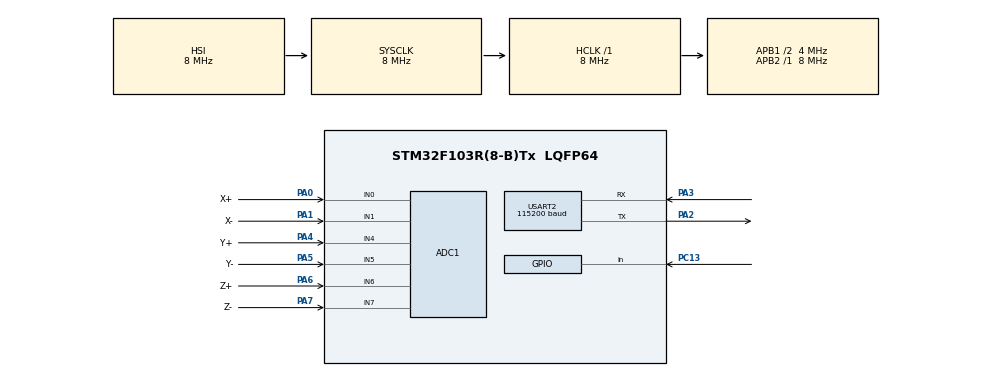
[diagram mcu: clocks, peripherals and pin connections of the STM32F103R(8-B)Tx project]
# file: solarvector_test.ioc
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ADC1.Channel-28\#ChannelRegularConversion=ADC_CHANNEL_0
ADC1.Channel-29\#ChannelRegularConversion=ADC_CHANNEL_1
ADC1.Channel-30\#ChannelRegularConversion=ADC_CHANNEL_4
ADC1.Channel-31\#ChannelRegularConversion=ADC_CHANNEL_5
ADC1.Channel-32\#ChannelRegularConversion=ADC_CHANNEL_6
ADC1.Channel-33\#ChannelRegularConversion=ADC_CHANNEL_7
ADC1.ContinuousConvMode=ENABLE
ADC1.DiscontinuousConvMode=DISABLE
ADC1.EnableRegularConversion=ENABLE
ADC1.InjNumberOfConversion=0
ADC1.NbrOfConversion=6
ADC1.NbrOfConversionFlag=1
ADC1.Rank-28\#ChannelRegularConversion=1
ADC1.Rank-29\#ChannelRegularConversion=2
ADC1.Rank-30\#ChannelRegularConversion=3
ADC1.Rank-31\#ChannelRegularConversion=4
ADC1.Rank-32\#ChannelRegularConversion=5
ADC1.Rank-33\#ChannelRegularConversion=6
ADC1.SamplingTime-28\#ChannelRegularConversion=ADC_SAMPLETIME_55CYCLES_5
ADC1.SamplingTime-29\#ChannelRegularConversion=ADC_SAMPLETIME_55CYCLES_5
ADC1.SamplingTime-30\#ChannelRegularConversion=ADC_SAMPLETIME_55CYCLES_5
ADC1.SamplingTime-31\#ChannelRegularConversion=ADC_SAMPLETIME_55CYCLES_5
ADC1.SamplingTime-32\#ChannelRegularConversion=ADC_SAMPLETIME_55CYCLES_5
ADC1.SamplingTime-33\#ChannelRegularConversion=ADC_SAMPLETIME_55CYCLES_5
ADC1.master=1
Dma.ADC1.0.Direction=DMA_PERIPH_TO_MEMORY
Dma.ADC1.0.Instance=DMA1_Channel1
Dma.ADC1.0.MemDataAlignment=DMA_MDATAALIGN_WORD
Dma.ADC1.0.MemInc=DMA_MINC_ENABLE
Dma.ADC1.0.Mode=DMA_CIRCULAR
Dma.ADC1.0.PeriphDataAlignment=DMA_PDATAALIGN_WORD
Dma.ADC1.0.PeriphInc=DMA_PINC_DISABLE
Dma.ADC1.0.Priority=DMA_PRIORITY_LOW
Dma.Request0=ADC1
Mcu.Family=STM32F1
Mcu.Name=STM32F103R(8-B)Tx
Mcu.Package=LQFP64
NVIC.ADC1_2_IRQn=true\:0\:0\:false\:false\:true\:true
NVIC.DMA1_Channel1_IRQn=true\:0\:0\:false\:false\:true\:false
NVIC.PriorityGroup=NVIC_PRIORITYGROUP_4
PA0-WKUP.GPIO_Label=X+
PA0-WKUP.Signal=ADCx_IN0
PA1.GPIO_Label=X-
PA1.Signal=ADCx_IN1
PA2.Mode=Asynchronous
PA2.Signal=USART2_TX
PA3.Mode=Asynchronous
PA3.Signal=USART2_RX
PA4.GPIO_Label=Y+
PA4.Signal=ADCx_IN4
PA5.GPIO_Label=Y-
PA5.Signal=ADCx_IN5
PA6.GPIO_Label=Z+
PA6.Signal=ADCx_IN6
PA7.GPIO_Label=Z-
PA7.Signal=ADCx_IN7
PC13-TAMPER-RTC.Signal=GPIO_Input
ProjectManager.HeapSize=0x400
ProjectManager.StackSize=0x400
ProjectManager.TargetToolchain=MDK-ARM V5
RCC.ADCPresc=RCC_ADCPCLK2_DIV8
RCC.AHBFreq_Value=8000000
RCC.APB1CLKDivider=RCC_HCLK_DIV2
RCC.APB1Freq_Value=4000000
RCC.APB1TimFreq_Value=8000000
RCC.APB2Freq_Value=8000000
RCC.APB2TimFreq_Value=8000000
RCC.HCLKFreq_Value=8000000
RCC.PLLMUL=RCC_PLL_MUL7
RCC.RTCClockSelection=RCC_RTCCLKSOURCE_LSE
RCC.SYSCLKFreq_VALUE=8000000
RCC.USBFreq_Value=28000000
SH.ADCx_IN0.0=ADC1_IN0,IN0
SH.ADCx_IN1.0=ADC1_IN1,IN1
SH.ADCx_IN4.0=ADC1_IN4,IN4
SH.ADCx_IN5.0=ADC1_IN5,IN5
SH.ADCx_IN6.0=ADC1_IN6,IN6
SH.ADCx_IN7.0=ADC1_IN7,IN7
USART2.BaudRate=115200
USART2.Mode=MODE_TX_RX
USART2.VirtualMode=VM_ASYNC
VP_SYS_VS_ND.Mode=No_Debug
board=NUCLEO-F103RB

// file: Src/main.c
/* USER CODE BEGIN Header */
/**
  ******************************************************************************
  * @file           : main.c
  * @brief          : Main program body
  ******************************************************************************
  ** This program finds solar vectors and prints information over serial based
	* on which #defines are uncommented below.
	*
	* See the Solar Vector Test SOP.
  ******************************************************************************
  */
/* USER CODE END Header */

#include "main.h"

/* USER CODE BEGIN Includes */
#include <math.h>
#include <stdio.h>
#include <string.h>
#include <SolarVectors.h>
#include <DigitalFilters.h>

/* USER CODE END Includes */

/* USER CODE BEGIN PM */
// #define YAWPITCH_TEST // Uncomment to unit test yaw and pitch function
#define PRINT_RAW_VALS
// #define PRINT_SOLAR_VECTOR
#define PRINT_YAWPITCH

#define ADC_CHANNEL_XP 0
#define ADC_CHANNEL_XN 1
#define ADC_CHANNEL_YP 2
#define ADC_CHANNEL_YN 3
#define ADC_CHANNEL_ZP 4
#define ADC_CHANNEL_ZN 5
#define NUM_ADC_CHANNELS 6
#define MOVING_AVG_LENGTH 20

/* USER CODE END PM */

ADC_HandleTypeDef hadc1;
DMA_HandleTypeDef hdma_adc1;

UART_HandleTypeDef huart2;

/* USER CODE BEGIN PV */

ADC_ChannelConfTypeDef sConfig = {0};
uint32_t adc_data[NUM_ADC_CHANNELS];
float sv_raw[NUM_ADC_CHANNELS];

/* USER CODE END PV */

void SystemClock_Config(void);
static void MX_GPIO_Init(void);
static void MX_DMA_Init(void);
static void MX_USART2_UART_Init(void);
static void MX_ADC1_Init(void);

int main(void)
{

  /* MCU Configuration--------------------------------------------------------*/

  /* Reset of all peripherals, Initializes the Flash interface and the Systick. */
  HAL_Init();

  /* Configure the system clock */
  SystemClock_Config();

  /* Initialize all configured peripherals */
  MX_GPIO_Init();
  MX_DMA_Init();
  MX_USART2_UART_Init();
  MX_ADC1_Init();
  /* USER CODE BEGIN 2 */

	char transmit[200];

	#ifdef YAWPITCH_TEST // Unit testing
	int num_tests = 7;
	double x_components[] = {1,		0.7071,	 -0.7071,   0.7071,  -0.7071,  0.7071,        0};
	double y_components[] = {0, 	0.7071,		0.7071,  -0.7071,  -0.7071,       0,  -0.7071};
	double z_components[] = {0, 			 0, 			 0, 			 0, 			 0,  0.7071,  -0.7071};

	double desired_yaw[] =  {0, 			45, 		 135,			 -45,			-135,				0,			-90};
	double desired_pitch[] = {0,			 0,				 0,				 0,				 0, 		 45,			-45};

	for(int i = 0;i < num_tests;i++) {
		Matrix v = make3x1Vector(x_components[i], y_components[i], z_components[i]);
		matrixScale(v, 1.0/vectorNorm(v));
		char transmit[50];
		printSolarVector(v, transmit);
		HAL_UART_Transmit(&huart2, (uint8_t*)transmit, strlen(transmit), 50);
		sprintf(transmit, "Desired:\r\nyaw: %3.1f pitch: %3.1f\r\n\r\n", desired_yaw[i], desired_pitch[i]);
		HAL_UART_Transmit(&huart2, (uint8_t*)transmit, strlen(transmit), 50);
	}

	while(1);
	#endif

	HAL_ADC_Start_DMA(&hadc1, adc_data, NUM_ADC_CHANNELS); // Start ADC in DMA mode

	sprintf(transmit, "Finished init\r\n");
	HAL_UART_Transmit(&huart2, (uint8_t*)transmit, strlen(transmit), 20);

	// See the Attitude Control System document for info on the body reference frame and axes
	double volts_xp, volts_xn, volts_yp, volts_yn, volts_zp, volts_zn; // Positive and negative raw current values for each axis

	MovingAvgFilter filter = newMovingAvgFilter(NUM_ADC_CHANNELS, MOVING_AVG_LENGTH);

	Matrix solar_vector = newMatrix(3, 1); // Make a new column vector Matrix for the solar vector

  /* USER CODE END 2 */

  /* Infinite loop */
  /* USER CODE BEGIN WHILE */
  while (1)
  {
		// Read ADC
		for(int i = 0;i < NUM_ADC_CHANNELS;i++) {
			sv_raw[i] = ADC_TO_VOLTS(adc_data[i]);
		}
		runMovingAvgFilter(filter, sv_raw); // Moving average solar vector readings

		#ifdef PRINT_RAW_VALS
		// Read data and convert to volts
		volts_xp = sv_raw[ADC_CHANNEL_XP]*XP_SCALE;
		volts_xn = sv_raw[ADC_CHANNEL_XN]*XN_SCALE;
		volts_yp = sv_raw[ADC_CHANNEL_YP]*YP_SCALE;
		volts_yn = sv_raw[ADC_CHANNEL_YN]*YN_SCALE;
		volts_zp = sv_raw[ADC_CHANNEL_ZP]*ZP_SCALE;
		volts_zn = sv_raw[ADC_CHANNEL_ZN]*ZN_SCALE;

		// Print x values
		sprintf(transmit, "xp: %2.6f xn: %2.6f\r\n", volts_xp, volts_xn);
		HAL_UART_Transmit(&huart2, (uint8_t*)transmit, strlen(transmit), 40);

		// Print y values
		sprintf(transmit, "yp: %2.6f yn: %2.6f\r\n", volts_yp, volts_yn);
		HAL_UART_Transmit(&huart2, (uint8_t*)transmit, strlen(transmit), 40);

		// Print z values
		sprintf(transmit, "zp: %2.6f zn: %2.6f\r\n", volts_zp, volts_zn);
		HAL_UART_Transmit(&huart2, (uint8_t*)transmit, strlen(transmit), 40);
		#endif

		// Calculate solar vector
		SV_Status sv_return = findSolarVector(sv_raw, 6, solar_vector);

		if(sv_return == SV_FOUND) { // Check if a valid solar vector was found
			#ifdef PRINT_SOLAR_VECTOR
			// Print solar vector over serial using the Matrix library command;
			printMatrix(solar_vector, transmit);
			HAL_UART_Transmit(&huart2, (uint8_t*)transmit, strlen(transmit), 40);
			#endif
			#ifdef PRINT_YAWPITCH
			// Print solar vector over serial using the SolarVector library command
			printSolarVector(solar_vector, transmit);
			HAL_UART_Transmit(&huart2, (uint8_t*)transmit, strlen(transmit), 40);
			#endif
		}
		else if(sv_return == SV_NOTFOUND){
			sprintf(transmit, "Solar vector indeterminate!\r\n");
			HAL_UART_Transmit(&huart2, (uint8_t*)transmit, strlen(transmit), 30);
		}
		else {
			sprintf(transmit, "Dark detected!\r\n");
			HAL_UART_Transmit(&huart2, (uint8_t*)transmit, strlen(transmit), 20);
		}

		sprintf(transmit, "\r\n");
		HAL_UART_Transmit(&huart2, (uint8_t*)transmit, strlen(transmit), 30);

		HAL_Delay(100);

    /* USER CODE END WHILE */

  }
}

void SystemClock_Config(void)
{
  RCC_OscInitTypeDef RCC_OscInitStruct = {0};
  RCC_ClkInitTypeDef RCC_ClkInitStruct = {0};
  RCC_PeriphCLKInitTypeDef PeriphClkInit = {0};

  /**Initializes the CPU, AHB and APB busses clocks
  */
  RCC_OscInitStruct.OscillatorType = RCC_OSCILLATORTYPE_HSI;
  RCC_OscInitStruct.HSIState = RCC_HSI_ON;
  RCC_OscInitStruct.HSICalibrationValue = RCC_HSICALIBRATION_DEFAULT;
  RCC_OscInitStruct.PLL.PLLState = RCC_PLL_NONE;
  if (HAL_RCC_OscConfig(&RCC_OscInitStruct) != HAL_OK)
  {
    Error_Handler();
  }
  /**Initializes the CPU, AHB and APB busses clocks
  */
  RCC_ClkInitStruct.ClockType = RCC_CLOCKTYPE_HCLK|RCC_CLOCKTYPE_SYSCLK
                              |RCC_CLOCKTYPE_PCLK1|RCC_CLOCKTYPE_PCLK2;
  RCC_ClkInitStruct.SYSCLKSource = RCC_SYSCLKSOURCE_HSI;
  RCC_ClkInitStruct.AHBCLKDivider = RCC_SYSCLK_DIV1;
  RCC_ClkInitStruct.APB1CLKDivider = RCC_HCLK_DIV2;
  RCC_ClkInitStruct.APB2CLKDivider = RCC_HCLK_DIV1;

  if (HAL_RCC_ClockConfig(&RCC_ClkInitStruct, FLASH_LATENCY_0) != HAL_OK)
  {
    Error_Handler();
  }
  PeriphClkInit.PeriphClockSelection = RCC_PERIPHCLK_ADC;
  PeriphClkInit.AdcClockSelection = RCC_ADCPCLK2_DIV8;
  if (HAL_RCCEx_PeriphCLKConfig(&PeriphClkInit) != HAL_OK)
  {
    Error_Handler();
  }
}

static void MX_ADC1_Init(void)
{

  ADC_ChannelConfTypeDef sConfig = {0};

  /**Common config
  */
  hadc1.Instance = ADC1;
  hadc1.Init.ScanConvMode = ADC_SCAN_ENABLE;
  hadc1.Init.ContinuousConvMode = ENABLE;
  hadc1.Init.DiscontinuousConvMode = DISABLE;
  hadc1.Init.ExternalTrigConv = ADC_SOFTWARE_START;
  hadc1.Init.DataAlign = ADC_DATAALIGN_RIGHT;
  hadc1.Init.NbrOfConversion = 6;
  if (HAL_ADC_Init(&hadc1) != HAL_OK)
  {
    Error_Handler();
  }
  /**Configure Regular Channel
  */
  sConfig.Channel = ADC_CHANNEL_0;
  sConfig.Rank = ADC_REGULAR_RANK_1;
  sConfig.SamplingTime = ADC_SAMPLETIME_55CYCLES_5;
  if (HAL_ADC_ConfigChannel(&hadc1, &sConfig) != HAL_OK)
  {
    Error_Handler();
  }
  /**Configure Regular Channel
  */
  sConfig.Channel = ADC_CHANNEL_1;
  sConfig.Rank = ADC_REGULAR_RANK_2;
  if (HAL_ADC_ConfigChannel(&hadc1, &sConfig) != HAL_OK)
  {
    Error_Handler();
  }
  /**Configure Regular Channel
  */
  sConfig.Channel = ADC_CHANNEL_4;
  sConfig.Rank = ADC_REGULAR_RANK_3;
  if (HAL_ADC_ConfigChannel(&hadc1, &sConfig) != HAL_OK)
  {
    Error_Handler();
  }
  /**Configure Regular Channel
  */
  sConfig.Channel = ADC_CHANNEL_5;
  sConfig.Rank = ADC_REGULAR_RANK_4;
  if (HAL_ADC_ConfigChannel(&hadc1, &sConfig) != HAL_OK)
  {
    Error_Handler();
  }
  /**Configure Regular Channel
  */
  sConfig.Channel = ADC_CHANNEL_6;
  sConfig.Rank = ADC_REGULAR_RANK_5;
  if (HAL_ADC_ConfigChannel(&hadc1, &sConfig) != HAL_OK)
  {
    Error_Handler();
  }
  /**Configure Regular Channel
  */
  sConfig.Channel = ADC_CHANNEL_7;
  sConfig.Rank = ADC_REGULAR_RANK_6;
  if (HAL_ADC_ConfigChannel(&hadc1, &sConfig) != HAL_OK)
  {
    Error_Handler();
  }

}

static void MX_USART2_UART_Init(void)
{

  huart2.Instance = USART2;
  huart2.Init.BaudRate = 115200;
  huart2.Init.WordLength = UART_WORDLENGTH_8B;
  huart2.Init.StopBits = UART_STOPBITS_1;
  huart2.Init.Parity = UART_PARITY_NONE;
  huart2.Init.Mode = UART_MODE_TX_RX;
  huart2.Init.HwFlowCtl = UART_HWCONTROL_NONE;
  huart2.Init.OverSampling = UART_OVERSAMPLING_16;
  if (HAL_UART_Init(&huart2) != HAL_OK)
  {
    Error_Handler();
  }

}

static void MX_DMA_Init(void)
{
  /* DMA controller clock enable */
  __HAL_RCC_DMA1_CLK_ENABLE();

  /* DMA interrupt init */
  /* DMA1_Channel1_IRQn interrupt configuration */
  HAL_NVIC_SetPriority(DMA1_Channel1_IRQn, 0, 0);
  HAL_NVIC_EnableIRQ(DMA1_Channel1_IRQn);

}

static void MX_GPIO_Init(void)
{
  GPIO_InitTypeDef GPIO_InitStruct = {0};

  /* GPIO Ports Clock Enable */
  __HAL_RCC_GPIOC_CLK_ENABLE();
  __HAL_RCC_GPIOA_CLK_ENABLE();

  /*Configure GPIO pin : PC13 */
  GPIO_InitStruct.Pin = GPIO_PIN_13;
  GPIO_InitStruct.Mode = GPIO_MODE_INPUT;
  GPIO_InitStruct.Pull = GPIO_NOPULL;
  HAL_GPIO_Init(GPIOC, &GPIO_InitStruct);

}

void Error_Handler(void)
{
}

/************************ (C) COPYRIGHT STMicroelectronics *****END OF FILE****/
